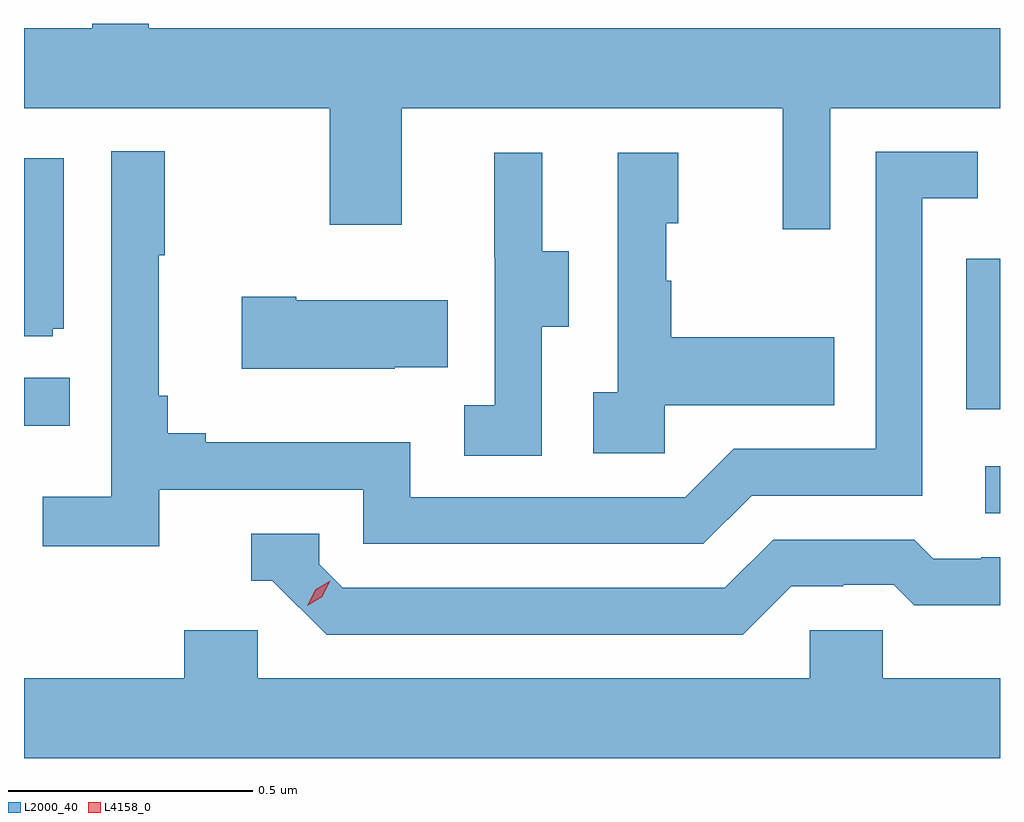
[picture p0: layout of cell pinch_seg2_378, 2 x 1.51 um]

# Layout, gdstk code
import gdstk
lib = gdstk.Library(unit=1e-6, precision=1e-09)
def R(c, l, rs):  # rectangles x0, y0, x1, y1
    for r in rs: c.add(gdstk.rectangle(r[:2], r[2:], *l))
def P(c, l, *ps):  # polygons
    for p in ps: c.add(gdstk.Polygon(p, *l))
L2000_40 = (2000, 40)
L4158_0 = (4158, 0)

pinch_seg2_378 = lib.new_cell('pinch_seg2_378')
R(pinch_seg2_378, L2000_40, [(997.893,608.178,997.923,608.274), (995.923,608.357,996.017,608.456), (997.854,608.391,997.923,608.7)])
P(pinch_seg2_378, L2000_40, [(997.575,609.008),(997.923,609.008),(997.923,609.172),(996.179,609.172),(996.179,609.181),(996.063,609.181),(996.063,609.172),(995.923,609.172),(995.923,609.008),(996.55,609.008),(996.55,608.769),(996.697,608.769),(996.697,609.008),(997.478,609.008),(997.478,608.76),(997.575,608.76)],
  [(996.2,608.226),(996.618,608.226),(996.618,608.115),(997.315,608.115),(997.414,608.214),(997.764,608.214),(997.764,608.823),(997.877,608.823),(997.877,608.919),(997.668,608.919),(997.668,608.31),(997.377,608.31),(997.278,608.211),(996.714,608.211),(996.714,608.323),(996.295,608.323),(996.295,608.342),(996.218,608.342),(996.218,608.419),(996.199,608.419),(996.199,608.707),(996.211,608.707),(996.211,608.92),(996.102,608.92),(996.102,608.212),(995.961,608.212),(995.961,608.11),(996.2,608.11)],
  [(996.984,608.56),(997.039,608.56),(997.039,608.715),(996.985,608.715),(996.985,608.917),(996.887,608.917),(996.887,608.703),(996.888,608.703),(996.888,608.399),(996.825,608.399),(996.825,608.296),(996.984,608.296)],
  [(997.236,608.399),(997.583,608.399),(997.583,608.539),(997.249,608.539),(997.249,608.654),(997.239,608.654),(997.239,608.772),(997.264,608.772),(997.264,608.917),(997.14,608.917),(997.14,608.426),(997.089,608.426),(997.089,608.301),(997.236,608.301)],
  [(995.982,608.556),(996.004,608.556),(996.004,608.905),(995.923,608.905),(995.923,608.541),(995.982,608.541)],
  [(996.683,608.477),(996.791,608.477),(996.791,608.614),(996.481,608.614),(996.481,608.622),(996.369,608.622),(996.369,608.474),(996.683,608.474)],
  [(997.495,608.028),(997.602,608.028),(997.602,608.031),(997.705,608.031),(997.747,607.989),(997.923,607.989),(997.923,608.088),(997.885,608.088),(997.885,608.085),(997.786,608.085),(997.747,608.124),(997.458,608.124),(997.359,608.025),(996.576,608.025),(996.528,608.073),(996.528,608.136),(996.389,608.136),(996.389,608.04),(996.432,608.04),(996.543,607.929),(997.396,607.929)],
  [(997.923,607.84),(997.683,607.84),(997.683,607.938),(997.533,607.938),(997.533,607.84),(996.402,607.84),(996.402,607.938),(996.251,607.938),(996.251,607.84),(995.923,607.84),(995.923,607.676),(997.923,607.676)])
P(pinch_seg2_378, L4158_0, [(996.503,607.988),(996.503,607.988),(996.52,608.021),(996.551,608.04),(996.551,608.04),(996.551,608.04),(996.534,608.007),(996.503,607.988)])

lib.write_gds('pinch_seg2_378.gds')
